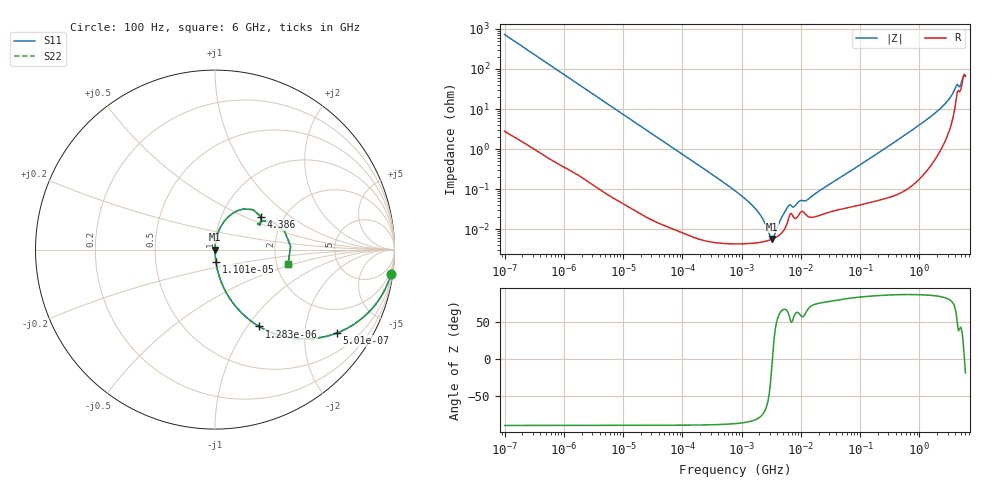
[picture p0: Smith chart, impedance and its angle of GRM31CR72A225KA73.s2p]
!Murata Part Number: GRM31CR72A225KA73
!These Parameters are Measured in Series Mode Connection
!Data Generated on Mar 30, 2021
!  o--ll--o
!Port1  Port2
!  o------o
!Operation Temp=25[degC], DC Bias Voltage=0[V]
!Freq. Start=100[Hz] Stop=6[GHz] 401[Steps]
# Hz S RI R 50
!Freq.(Hz) S11(Real) S11(Imag) S21(Real) S21(Imag) S12(Real) S12(Imag) S22(Real) S22(Imag)
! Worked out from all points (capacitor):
!   401 points, 100 Hz to 6 GHz, reference 50 ohm
!   read as one part in series: C = 2.19 uF near 109 Hz
!   lowest |Z| = 5.66 mohm at 3.246 MHz (marker M1)
!   series resonance near 3.311 MHz, so ESL is about 1.1 nH
!   S11 on the Smith chart (normalised r, x): 100 Hz: 1, -15; 501 Hz: 1.01, -2.91; 1.283 kHz: 1.01, -1.14; 11.01 kHz: 1.00, -0.13; 4.386 GHz: 1.54, +0.62; 6 GHz: 2.32, -0.44
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100  0.9809 -0.1349  0.0191 0.1349  0.0191 0.1349  0.9809 -0.1349
245  0.8975 -0.3012  0.1025 0.3012  0.1025 0.3012  0.8975 -0.3012
501  0.6788 -0.4647  0.3212 0.4647  0.3212 0.4647  0.6788 -0.4647
784  0.4649 -0.4964  0.5351 0.4964  0.5351 0.4964  0.4649 -0.4964
1283  0.2465 -0.4284  0.7535 0.4284  0.7535 0.4284  0.2465 -0.4284
2008  0.1189 -0.321  0.8811 0.321  0.8811 0.321  0.1189 -0.321
11009  0.00486 -0.0666  0.9951 0.0666  0.9951 0.0666  0.00486 -0.0666
40335  0.000476 -0.0183  0.9995 0.0183  0.9995 0.0183  0.000476 -0.0183
774597  4.36e-05 -0.000912  1 0.000912  1 0.000912  4.36e-05 -0.000912
1585629  4.46e-05 -0.000364  1 0.000364  1 0.000364  4.46e-05 -0.000364
2074311  4.69e-05 -0.00022  1 0.00022  1 0.00022  4.69e-05 -0.00022
2713602  5.11e-05 -9.17e-05  0.9999 9.17e-05  0.9999 9.17e-05  5.11e-05 -9.17e-05
3245845  5.59e-05 -9.1e-06  0.9999 9.1e-06  0.9999 9.1e-06  5.59e-05 -9.1e-06
3882480  6.35e-05 7.5e-05  0.9999 -7.5e-05  0.9999 -7.5e-05  6.35e-05 7.5e-05
6075234  0.000163 0.000329  0.9998 -0.000329  0.9998 -0.000329  0.000163 0.000329
1.555665e7  0.000197 0.000643  0.9998 -0.000643  0.9998 -0.000643  0.000197 0.000643
3.124326e8  0.00077 0.0122  0.9992 -0.0122  0.9992 -0.0122  0.00077 0.0122
2.562649e9  0.0268 0.1171  0.9732 -0.1171  0.9732 -0.1171  0.0268 0.1171
3.505958e9  0.0804 0.1882  0.9196 -0.1882  0.9196 -0.1882  0.0804 0.1882
4.385646e9  0.2573 0.1823  0.7427 -0.1823  0.7427 -0.1823  0.2573 0.1823
5.245841e9  0.3253 0.1527  0.6747 -0.1527  0.6747 -0.1527  0.3253 0.1527
6e9  0.4075 -0.0787  0.5925 0.0787  0.5925 0.0787  0.4075 -0.0787
